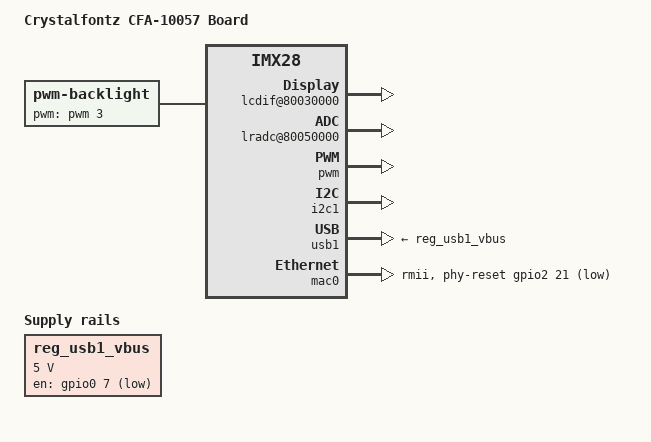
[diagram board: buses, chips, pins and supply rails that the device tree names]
/*
 * Copyright 2013 Crystalfontz America, Inc.
 * Copyright 2012 Free Electrons
 *
 * The code contained herein is licensed under the GNU General Public
 * License. You may obtain a copy of the GNU General Public License
 * Version 2 or later at the following locations:
 *
 * http://www.opensource.org/licenses/gpl-license.html
 * http://www.gnu.org/copyleft/gpl.html
 */

/*
 * The CFA-10057 is an expansion board for the CFA-10036 module, thus we
 * need to include the CFA-10036 DTS.
 */
#include "imx28-cfa10036.dts"

/ {
	model = "Crystalfontz CFA-10057 Board";
	compatible = "crystalfontz,cfa10057", "crystalfontz,cfa10036", "fsl,imx28";

	apb@80000000 {
		apbh@80000000 {
			pinctrl@80018000 {
				usb_pins_cfa10057: usb-10057@0 {
					reg = <0>;
					fsl,pinmux-ids = <
						MX28_PAD_GPMI_D07__GPIO_0_7
					>;
					fsl,drive-strength = <MXS_DRIVE_4mA>;
					fsl,voltage = <MXS_VOLTAGE_HIGH>;
					fsl,pull-up = <MXS_PULL_DISABLE>;
				};

				lcdif_18bit_pins_cfa10057: lcdif-18bit@0 {
					reg = <0>;
					fsl,pinmux-ids = <
						MX28_PAD_LCD_D00__LCD_D0
						MX28_PAD_LCD_D01__LCD_D1
						MX28_PAD_LCD_D02__LCD_D2
						MX28_PAD_LCD_D03__LCD_D3
						MX28_PAD_LCD_D04__LCD_D4
						MX28_PAD_LCD_D05__LCD_D5
						MX28_PAD_LCD_D06__LCD_D6
						MX28_PAD_LCD_D07__LCD_D7
						MX28_PAD_LCD_D08__LCD_D8
						MX28_PAD_LCD_D09__LCD_D9
						MX28_PAD_LCD_D10__LCD_D10
						MX28_PAD_LCD_D11__LCD_D11
						MX28_PAD_LCD_D12__LCD_D12
						MX28_PAD_LCD_D13__LCD_D13
						MX28_PAD_LCD_D14__LCD_D14
						MX28_PAD_LCD_D15__LCD_D15
						MX28_PAD_LCD_D16__LCD_D16
						MX28_PAD_LCD_D17__LCD_D17
					>;
					fsl,drive-strength = <MXS_DRIVE_4mA>;
					fsl,voltage = <MXS_VOLTAGE_HIGH>;
					fsl,pull-up = <MXS_PULL_DISABLE>;
				};

				lcdif_pins_cfa10057: lcdif-evk@0 {
					reg = <0>;
					fsl,pinmux-ids = <
						MX28_PAD_LCD_RD_E__LCD_VSYNC
						MX28_PAD_LCD_WR_RWN__LCD_HSYNC
						MX28_PAD_LCD_RS__LCD_DOTCLK
						MX28_PAD_LCD_CS__LCD_ENABLE
					>;
					fsl,drive-strength = <MXS_DRIVE_4mA>;
					fsl,voltage = <MXS_VOLTAGE_HIGH>;
					fsl,pull-up = <MXS_PULL_DISABLE>;
				};
			};

			lcdif@80030000 {
				pinctrl-names = "default";
				pinctrl-0 = <&lcdif_18bit_pins_cfa10057
					     &lcdif_pins_cfa10057>;
				display = <&display>;
				status = "okay";

				display: display {
					bits-per-pixel = <32>;
					bus-width = <18>;

					display-timings {
						native-mode = <&timing0>;
						timing0: timing0 {
							clock-frequency = <30000000>;
							hactive = <480>;
							vactive = <800>;
							hfront-porch = <12>;
							hback-porch = <2>;
							vfront-porch = <5>;
							vback-porch = <3>;
							hsync-len = <2>;
							vsync-len = <2>;
							hsync-active = <0>;
							vsync-active = <0>;
							de-active = <1>;
							pixelclk-active = <1>;
						};
					};
				};
			};
		};

		apbx@80040000 {
			lradc@80050000 {
				fsl,lradc-touchscreen-wires = <4>;
				status = "okay";
			};

			pwm: pwm@80064000 {
				pinctrl-names = "default";
				pinctrl-0 = <&pwm3_pins_b>;
				status = "okay";
			};

			i2c1: i2c@8005a000 {
				pinctrl-names = "default";
				pinctrl-0 = <&i2c1_pins_a>;
				status = "okay";
			};

			usbphy1: usbphy@8007e000 {
				status = "okay";
			};
		};
	};

	ahb@80080000 {
		usb1: usb@80090000 {
			vbus-supply = <&reg_usb1_vbus>;
			pinctrl-0 = <&usb1_pins_a>;
			pinctrl-names = "default";
			status = "okay";
		};
	};

	regulators {
		compatible = "simple-bus";
		#address-cells = <1>;
		#size-cells = <0>;

		reg_usb1_vbus: regulator@0 {
			compatible = "regulator-fixed";
			reg = <0>;
			pinctrl-names = "default";
			pinctrl-0 = <&usb_pins_cfa10057>;
			regulator-name = "usb1_vbus";
			regulator-min-microvolt = <5000000>;
			regulator-max-microvolt = <5000000>;
			gpio = <&gpio0 7 1>;
		};
	};

	ahb@80080000 {
		mac0: ethernet@800f0000 {
			phy-mode = "rmii";
			pinctrl-names = "default";
			pinctrl-0 = <&mac0_pins_a>;
			phy-reset-gpios = <&gpio2 21 0>;
			phy-reset-duration = <100>;
			status = "okay";
		};
	};

	backlight {
		compatible = "pwm-backlight";
		pwms = <&pwm 3 5000000>;
		brightness-levels = <0 4 8 16 32 64 128 255>;
		default-brightness-level = <7>;
	};
};
